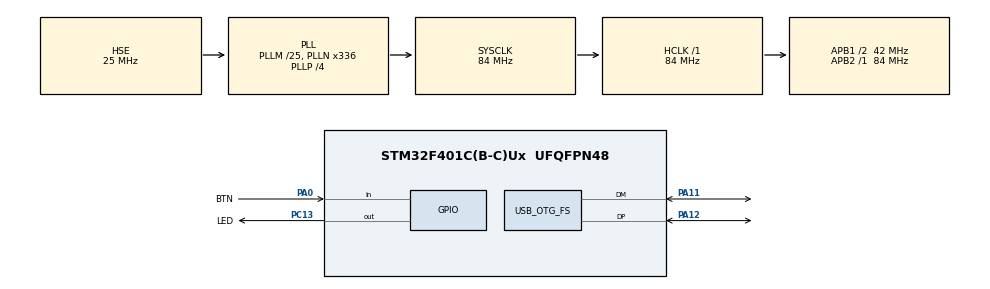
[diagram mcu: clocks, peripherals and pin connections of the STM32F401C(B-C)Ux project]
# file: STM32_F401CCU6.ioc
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Mcu.Family=STM32F4
Mcu.Name=STM32F401C(B-C)Ux
Mcu.Package=UFQFPN48
NVIC.OTG_FS_IRQn=true\:0\:0\:false\:false\:true\:false\:true\:true
NVIC.PriorityGroup=NVIC_PRIORITYGROUP_4
PA0-WKUP.GPIO_Label=BTN
PA0-WKUP.GPIO_PuPd=GPIO_PULLUP
PA0-WKUP.Signal=GPIO_Input
PA11.Mode=Device_Only
PA11.Signal=USB_OTG_FS_DM
PA12.Mode=Device_Only
PA12.Signal=USB_OTG_FS_DP
PA13.Mode=Serial_Wire
PA13.Signal=SYS_JTMS-SWDIO
PA14.Mode=Serial_Wire
PA14.Signal=SYS_JTCK-SWCLK
PC13-ANTI_TAMP.GPIO_Label=LED
PC13-ANTI_TAMP.PinState=GPIO_PIN_SET
PC13-ANTI_TAMP.Signal=GPIO_Output
PH0\ -\ OSC_IN.Mode=HSE-External-Oscillator
PH0\ -\ OSC_IN.Signal=RCC_OSC_IN
PH1\ -\ OSC_OUT.Mode=HSE-External-Oscillator
PH1\ -\ OSC_OUT.Signal=RCC_OSC_OUT
ProjectManager.HeapSize=0x200
ProjectManager.StackSize=0x400
ProjectManager.TargetToolchain=STM32CubeIDE
RCC.48MHZClocksFreq_Value=48000000
RCC.AHBFreq_Value=84000000
RCC.APB1CLKDivider=RCC_HCLK_DIV2
RCC.APB1Freq_Value=42000000
RCC.APB1TimFreq_Value=84000000
RCC.APB2Freq_Value=84000000
RCC.APB2TimFreq_Value=84000000
RCC.CortexFreq_Value=84000000
RCC.HCLKFreq_Value=84000000
RCC.HSE_VALUE=25000000
RCC.HSI_VALUE=16000000
RCC.LSE_VALUE=32768
RCC.PLLM=25
RCC.PLLN=336
RCC.PLLP=RCC_PLLP_DIV4
RCC.PLLQ=7
RCC.SYSCLKFreq_VALUE=84000000
RCC.SYSCLKSource=RCC_SYSCLKSOURCE_PLLCLK
RCC.VCOOutputFreq_Value=336000000
USB_DEVICE.CLASS_NAME_FS=CDC
USB_DEVICE.VirtualMode=Cdc
USB_DEVICE.VirtualModeFS=Cdc_FS
USB_OTG_FS.VirtualMode=Device_Only
VP_USB_DEVICE_VS_USB_DEVICE_CDC_FS.Mode=CDC_FS
board=custom

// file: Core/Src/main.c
/* USER CODE BEGIN Header */
/**
  ******************************************************************************
  * @file           : main.c
  * @brief          : Main program body
  ******************************************************************************
  * @attention
  *
  * Copyright (c) 2026 STMicroelectronics.
  * All rights reserved.
  *
  * This software is licensed under terms that can be found in the LICENSE file
  * in the root directory of this software component.
  * If no LICENSE file comes with this software, it is provided AS-IS.
  *
  ******************************************************************************
  */
/* USER CODE END Header */
#include "main.h"
#include "usb_device.h"

/* USER CODE BEGIN PV */
static const uint16_t periods[] = {100, 250, 500, 1000, 2000};
#define PERIODS_COUNT (sizeof(periods) / sizeof(periods[0]))
#define DEBOUNCE_MS   30
/* USER CODE END PV */

void SystemClock_Config(void);
static void MX_GPIO_Init(void);

int main(void)
{

  /* MCU Configuration--------------------------------------------------------*/

  /* Reset of all peripherals, Initializes the Flash interface and the Systick. */
  HAL_Init();

  /* Configure the system clock */
  SystemClock_Config();

  /* Initialize all configured peripherals */
  MX_GPIO_Init();
  MX_USB_DEVICE_Init();
  /* USER CODE BEGIN 2 */
  RCC->APB1ENR |= RCC_APB1ENR_TIM2EN;
  (void)RCC->APB1ENR;

  TIM2->PSC = 84000 - 1;
  TIM2->ARR = 0xFFFFFFFF;
  TIM2->EGR = TIM_EGR_UG;
  TIM2->CR1 |= TIM_CR1_CEN;

  uint32_t last_toggle = 0;
  uint32_t last_change = 0;
  uint8_t  period_idx  = 2;
  uint8_t  prev_state  = 1;
  /* USER CODE END 2 */

  /* Infinite loop */
  /* USER CODE BEGIN WHILE */
  while (1)
  {
      uint32_t now = TIM2->CNT;

      if (now - last_toggle >= periods[period_idx])
      {
          last_toggle = now;
          GPIOC->ODR ^= LED_Pin;
      }

      uint8_t state = (GPIOA->IDR & BTN_Pin) ? 1 : 0;

      if (state != prev_state && (now - last_change) >= DEBOUNCE_MS)
      {
          last_change = now;
          prev_state  = state;

          if (state == 0)
          {
              period_idx = (period_idx + 1) % PERIODS_COUNT;
          }
      }

    /* USER CODE END WHILE */

  }
}

void SystemClock_Config(void)
{
  RCC_OscInitTypeDef RCC_OscInitStruct = {0};
  RCC_ClkInitTypeDef RCC_ClkInitStruct = {0};

  /** Configure the main internal regulator output voltage
  */
  __HAL_RCC_PWR_CLK_ENABLE();
  __HAL_PWR_VOLTAGESCALING_CONFIG(PWR_REGULATOR_VOLTAGE_SCALE2);

  /** Initializes the RCC Oscillators according to the specified parameters
  * in the RCC_OscInitTypeDef structure.
  */
  RCC_OscInitStruct.OscillatorType = RCC_OSCILLATORTYPE_HSE;
  RCC_OscInitStruct.HSEState = RCC_HSE_ON;
  RCC_OscInitStruct.PLL.PLLState = RCC_PLL_ON;
  RCC_OscInitStruct.PLL.PLLSource = RCC_PLLSOURCE_HSE;
  RCC_OscInitStruct.PLL.PLLM = 25;
  RCC_OscInitStruct.PLL.PLLN = 336;
  RCC_OscInitStruct.PLL.PLLP = RCC_PLLP_DIV4;
  RCC_OscInitStruct.PLL.PLLQ = 7;
  if (HAL_RCC_OscConfig(&RCC_OscInitStruct) != HAL_OK)
  {
    Error_Handler();
  }

  /** Initializes the CPU, AHB and APB buses clocks
  */
  RCC_ClkInitStruct.ClockType = RCC_CLOCKTYPE_HCLK|RCC_CLOCKTYPE_SYSCLK
                              |RCC_CLOCKTYPE_PCLK1|RCC_CLOCKTYPE_PCLK2;
  RCC_ClkInitStruct.SYSCLKSource = RCC_SYSCLKSOURCE_PLLCLK;
  RCC_ClkInitStruct.AHBCLKDivider = RCC_SYSCLK_DIV1;
  RCC_ClkInitStruct.APB1CLKDivider = RCC_HCLK_DIV2;
  RCC_ClkInitStruct.APB2CLKDivider = RCC_HCLK_DIV1;

  if (HAL_RCC_ClockConfig(&RCC_ClkInitStruct, FLASH_LATENCY_2) != HAL_OK)
  {
    Error_Handler();
  }
}

static void MX_GPIO_Init(void)
{
  GPIO_InitTypeDef GPIO_InitStruct = {0};

  /* GPIO Ports Clock Enable */
  __HAL_RCC_GPIOC_CLK_ENABLE();
  __HAL_RCC_GPIOH_CLK_ENABLE();
  __HAL_RCC_GPIOA_CLK_ENABLE();

  /*Configure GPIO pin Output Level */
  HAL_GPIO_WritePin(LED_GPIO_Port, LED_Pin, GPIO_PIN_SET);

  /*Configure GPIO pin : LED_Pin */
  GPIO_InitStruct.Pin = LED_Pin;
  GPIO_InitStruct.Mode = GPIO_MODE_OUTPUT_PP;
  GPIO_InitStruct.Pull = GPIO_NOPULL;
  GPIO_InitStruct.Speed = GPIO_SPEED_FREQ_LOW;
  HAL_GPIO_Init(LED_GPIO_Port, &GPIO_InitStruct);

  /*Configure GPIO pin : BTN_Pin */
  GPIO_InitStruct.Pin = BTN_Pin;
  GPIO_InitStruct.Mode = GPIO_MODE_INPUT;
  GPIO_InitStruct.Pull = GPIO_PULLUP;
  HAL_GPIO_Init(BTN_GPIO_Port, &GPIO_InitStruct);

}

void Error_Handler(void)
{
  __disable_irq();
  while (1)
  {
  }
}
